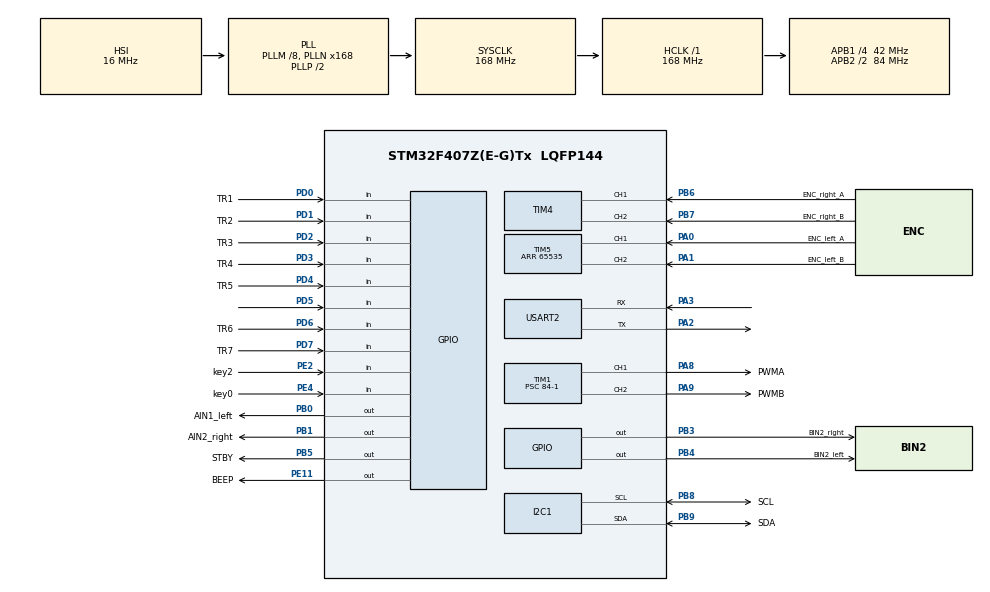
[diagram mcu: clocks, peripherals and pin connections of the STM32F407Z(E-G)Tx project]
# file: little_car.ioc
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Mcu.Family=STM32F4
Mcu.Name=STM32F407Z(E-G)Tx
Mcu.Package=LQFP144
NVIC.PriorityGroup=NVIC_PRIORITYGROUP_4
NVIC.TIM2_IRQn=true\:3\:0\:true\:false\:true\:true\:true\:true
NVIC.USART2_IRQn=true\:0\:0\:false\:false\:true\:true\:true\:true
PA0-WKUP.GPIO_Label=ENC_left_A
PA0-WKUP.Signal=S_TIM5_CH1
PA1.GPIO_Label=ENC_left_B
PA1.Signal=S_TIM5_CH2
PA13.Mode=Serial_Wire
PA13.Signal=SYS_JTMS-SWDIO
PA14.Mode=Serial_Wire
PA14.Signal=SYS_JTCK-SWCLK
PA2.Mode=Asynchronous
PA2.Signal=USART2_TX
PA3.Mode=Asynchronous
PA3.Signal=USART2_RX
PA8.GPIO_Label=PWMA
PA8.Signal=S_TIM1_CH1
PA9.GPIO_Label=PWMB
PA9.Signal=S_TIM1_CH2
PB0.GPIO_Label=AIN1_left
PB0.Signal=GPIO_Output
PB1.GPIO_Label=AIN2_right
PB1.Signal=GPIO_Output
PB3.GPIO_Label=BIN2_right
PB3.Signal=GPIO_Output
PB4.GPIO_Label=BIN2_left
PB4.Signal=GPIO_Output
PB5.GPIO_Label=STBY
PB5.GPIO_PuPd=GPIO_PULLUP
PB5.Signal=GPIO_Output
PB6.GPIO_Label=ENC_right_A
PB6.Signal=S_TIM4_CH1
PB7.GPIO_Label=ENC_right_B
PB7.Signal=S_TIM4_CH2
PB8.GPIO_Label=SCL
PB8.Mode=I2C
PB8.Signal=I2C1_SCL
PB9.GPIO_Label=SDA
PB9.Mode=I2C
PB9.Signal=I2C1_SDA
PC14-OSC32_IN.Mode=LSE-External-Oscillator
PC14-OSC32_IN.Signal=RCC_OSC32_IN
PC15-OSC32_OUT.Mode=LSE-External-Oscillator
PC15-OSC32_OUT.Signal=RCC_OSC32_OUT
PD0.GPIO_Label=TR1
PD0.GPIO_PuPd=GPIO_NOPULL
PD0.Signal=GPIO_Input
PD1.GPIO_Label=TR2
PD1.Signal=GPIO_Input
PD2.GPIO_Label=TR3
PD2.GPIO_PuPd=GPIO_NOPULL
PD2.Signal=GPIO_Input
PD3.GPIO_Label=TR4
PD3.Signal=GPIO_Input
PD4.GPIO_Label=TR5
PD4.GPIO_PuPd=GPIO_NOPULL
PD4.Signal=GPIO_Input
PD5.Signal=GPIO_Input
PD6.GPIO_Label=TR6
PD6.Signal=GPIO_Input
PD7.GPIO_Label=TR7
PD7.Signal=GPIO_Input
PE11.GPIO_Label=BEEP
PE11.GPIO_PuPd=GPIO_PULLUP
PE11.PinState=GPIO_PIN_SET
PE11.Signal=GPIO_Output
PE2.GPIO_Label=key2
PE2.GPIO_PuPd=GPIO_PULLUP
PE2.Signal=GPIO_Input
PE4.GPIO_Label=key0
PE4.GPIO_PuPd=GPIO_PULLDOWN
PE4.Signal=GPIO_Input
PH0-OSC_IN.Mode=HSE-External-Oscillator
PH0-OSC_IN.Signal=RCC_OSC_IN
PH1-OSC_OUT.Mode=HSE-External-Oscillator
PH1-OSC_OUT.Signal=RCC_OSC_OUT
ProjectManager.HeapSize=0x200
ProjectManager.StackSize=0x400
ProjectManager.TargetToolchain=MDK-ARM V5.32
RCC.48MHZClocksFreq_Value=84000000
RCC.AHBFreq_Value=168000000
RCC.APB1CLKDivider=RCC_HCLK_DIV4
RCC.APB1Freq_Value=42000000
RCC.APB1TimFreq_Value=84000000
RCC.APB2CLKDivider=RCC_HCLK_DIV2
RCC.APB2Freq_Value=84000000
RCC.APB2TimFreq_Value=168000000
RCC.CortexFreq_Value=168000000
RCC.HCLKFreq_Value=168000000
RCC.HSE_VALUE=25000000
RCC.HSI_VALUE=16000000
RCC.PLLM=8
RCC.PLLN=168
RCC.SYSCLKFreq_VALUE=168000000
RCC.SYSCLKSource=RCC_SYSCLKSOURCE_PLLCLK
RCC.VCOOutputFreq_Value=336000000
SH.S_TIM1_CH1.0=TIM1_CH1,PWM Generation1 CH1
SH.S_TIM1_CH2.0=TIM1_CH2,PWM Generation2 CH2
SH.S_TIM4_CH1.0=TIM4_CH1,Encoder_Interface
SH.S_TIM4_CH2.0=TIM4_CH2,Encoder_Interface
SH.S_TIM5_CH1.0=TIM5_CH1,Encoder_Interface
SH.S_TIM5_CH2.0=TIM5_CH2,Encoder_Interface
TIM1.AutoReloadPreload=TIM_AUTORELOAD_PRELOAD_ENABLE
TIM1.Channel-PWM\ Generation1\ CH1=TIM_CHANNEL_1
TIM1.Channel-PWM\ Generation2\ CH2=TIM_CHANNEL_2
TIM1.Period=100-1
TIM1.Prescaler=84-1
TIM2.AutoReloadPreload=TIM_AUTORELOAD_PRELOAD_ENABLE
TIM2.Period=99
TIM2.Prescaler=8399
TIM4.EncoderMode=TIM_ENCODERMODE_TI12
TIM5.EncoderMode=TIM_ENCODERMODE_TI12
TIM5.Period=65535
USART2.VirtualMode=VM_ASYNC
VP_TIM2_VS_ClockSourceINT.Mode=Internal
board=custom

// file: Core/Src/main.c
/* USER CODE BEGIN Header */
/**
  ******************************************************************************
  * @file           : main.c
  * @brief          : Main program body
  ******************************************************************************
  * @attention
  *
  * Copyright (c) 2026 STMicroelectronics.
  * All rights reserved.
  *
  * This software is licensed under terms that can be found in the LICENSE file
  * in the root directory of this software component.
  * If no LICENSE file comes with this software, it is provided AS-IS.
  ******************************************************************************
  */
/* USER CODE END Header */
#include "main.h"
#include "i2c.h"
#include "tim.h"
#include "usart.h"
#include "gpio.h"

/* USER CODE BEGIN Includes */
#include "oled.h"
#include "beep.h"
#include "encode1.h"
#include "pid1.h"
#include "motor1.h"
#include "track_sensor.h"

#include <stdio.h>	//使用 printf
#include <string.h>	//使用 memset
/* USER CODE END Includes */

/* USER CODE BEGIN PD */
#define LENGTH  64  		//接收缓冲区大小
/* USER CODE END PD */

/* USER CODE BEGIN PV */
uint8_t RxBuff[LENGTH];		//接收缓冲区
uint8_t rx_flag = 0;
uint16_t rx_len = 0;

float base_speed = 12.0f;   // 循迹基础直行速度，单位和你速度环目标一致
/* USER CODE END PV */

void SystemClock_Config(void);

/* USER CODE BEGIN 0 */

//pid1新的pid函数
PID1_TypeDef pid1_left;
PID1_TypeDef pid1_right;

// 必须加volatile！！！跨中断
volatile float speed_L, speed_R;
volatile float pwmout_left,pwmout_right;
volatile float Target1_left;
volatile float Target1_right;
volatile float turn_speed;

	float pwm_left_out =0;
	float pwm_right_out =0;

uint8_t keynum;

//printf重定向
int fputc(int ch, FILE *f)
{
    uint8_t temp = ch;
    HAL_UART_Transmit(&huart2, &temp, 1, 100);
    return ch;
}

/* USER CODE END 0 */

int main(void)
{

  /* MCU Configuration--------------------------------------------------------*/

  /* Reset of all peripherals, Initializes the Flash interface and the Systick. */
  HAL_Init();

  /* Configure the system clock */
  SystemClock_Config();

  /* Initialize all configured peripherals */
  MX_GPIO_Init();
  MX_TIM1_Init();
  MX_TIM4_Init();
  MX_TIM5_Init();
  MX_I2C1_Init();
  MX_TIM2_Init();
  MX_USART2_UART_Init();
  /* USER CODE BEGIN 2 */

	HAL_TIM_PWM_Start(&htim1, TIM_CHANNEL_1);
  HAL_TIM_PWM_Start(&htim1, TIM_CHANNEL_2);

  HAL_TIM_Base_Start_IT(&htim2);  //开启定时器中断50ms

	HAL_TIM_Encoder_Start(&htim4, TIM_CHANNEL_ALL);
  HAL_TIM_Encoder_Start(&htim5, TIM_CHANNEL_ALL);//开启编码器

	motor1_init();
//	OLED_Init();

	  pid1_Init(&pid1_left, 3.2f, 0.15f, 0.15f);
  pid1_Init(&pid1_right,3.2f, 0.15f, 0.15f);

		Target1_left = base_speed;
Target1_right = base_speed;

	printf("System Start!\r\n");
  /* USER CODE END 2 */

  /* Infinite loop */
  /* USER CODE BEGIN WHILE */
  while (1)
  {
		printf("speed_left:%.2f,speed_right:%.2f\r\n",speed_L,speed_R);
		printf("pwm_left:%.2f,pwm_right:%.2f\r\n",pwm_left_out,pwm_right_out);
		printf("rho:%.2f,turn_speed:%.2f\r\n",rho,turn_speed);
		HAL_Delay(1000);

    /* USER CODE END WHILE */

	}
}

void SystemClock_Config(void)
{
  RCC_OscInitTypeDef RCC_OscInitStruct = {0};
  RCC_ClkInitTypeDef RCC_ClkInitStruct = {0};

  /** Configure the main internal regulator output voltage
  */
  __HAL_RCC_PWR_CLK_ENABLE();
  __HAL_PWR_VOLTAGESCALING_CONFIG(PWR_REGULATOR_VOLTAGE_SCALE1);

  /** Initializes the RCC Oscillators according to the specified parameters
  * in the RCC_OscInitTypeDef structure.
  */
  RCC_OscInitStruct.OscillatorType = RCC_OSCILLATORTYPE_HSI;
  RCC_OscInitStruct.HSIState = RCC_HSI_ON;
  RCC_OscInitStruct.HSICalibrationValue = RCC_HSICALIBRATION_DEFAULT;
  RCC_OscInitStruct.PLL.PLLState = RCC_PLL_ON;
  RCC_OscInitStruct.PLL.PLLSource = RCC_PLLSOURCE_HSI;
  RCC_OscInitStruct.PLL.PLLM = 8;
  RCC_OscInitStruct.PLL.PLLN = 168;
  RCC_OscInitStruct.PLL.PLLP = RCC_PLLP_DIV2;
  RCC_OscInitStruct.PLL.PLLQ = 4;
  if (HAL_RCC_OscConfig(&RCC_OscInitStruct) != HAL_OK)
  {
    Error_Handler();
  }

  /** Initializes the CPU, AHB and APB buses clocks
  */
  RCC_ClkInitStruct.ClockType = RCC_CLOCKTYPE_HCLK|RCC_CLOCKTYPE_SYSCLK
                              |RCC_CLOCKTYPE_PCLK1|RCC_CLOCKTYPE_PCLK2;
  RCC_ClkInitStruct.SYSCLKSource = RCC_SYSCLKSOURCE_PLLCLK;
  RCC_ClkInitStruct.AHBCLKDivider = RCC_SYSCLK_DIV1;
  RCC_ClkInitStruct.APB1CLKDivider = RCC_HCLK_DIV4;
  RCC_ClkInitStruct.APB2CLKDivider = RCC_HCLK_DIV2;

  if (HAL_RCC_ClockConfig(&RCC_ClkInitStruct, FLASH_LATENCY_5) != HAL_OK)
  {
    Error_Handler();
  }
}

/* USER CODE BEGIN 4 */
void HAL_UARTEx_RxEventCallback(UART_HandleTypeDef *huart, uint16_t Size)
{
	if(huart -> Instance == USART2)
	{
		 HAL_UART_Transmit_IT(&huart2 ,RxBuff ,Size);
		 HAL_UARTEx_ReceiveToIdle_IT(&huart2 ,RxBuff ,LENGTH);
	}
}

// 50ms 定时中断 → 计算编码器速度
void HAL_TIM_PeriodElapsedCallback(TIM_HandleTypeDef *htim)
{
     if(htim->Instance == TIM2)
    {
        // ========== 1. 循迹外环：计算转向差速 ==========
        Sensor_UpdateRho();                              // 更新黑线位置rho
        turn_speed = Track_PD_Calc(40.0f, rho);    // PD计算转向差速

        // 叠加差速到左右轮目标速度
        float target_L = base_speed - turn_speed;
        float target_R = base_speed + turn_speed;

        // 目标速度下限保护：避免低速弯道时倒车
        if(target_L < 0.5f) target_L = 0.5f;
        if(target_R < 0.5f) target_R = 0.5f;

        // ========== 2. 速度内环：编码器+PID+电机输出 ==========
        speed_L = (float)encode1_get(&htim5);
        speed_R = (float)encode1_get(&htim4);

        pwmout_left  = PID1_Calc(&pid1_left, speed_L, (int16_t)target_L);
        pwmout_right = PID1_Calc(&pid1_right, speed_R, (int16_t)target_R);

//			if(pwmout_left  < 0.0f) pwmout_left  = 0.0f;
//		if(pwmout_right < 0.0f) pwmout_right = 0.0f;

			 pwm_left_out  = MOTOR_DEAD_ZONE + (pwmout_left  / 100.0f) * (100.0f - MOTOR_DEAD_ZONE);
			pwm_right_out = MOTOR_DEAD_ZONE + (pwmout_right / 100.0f) * (100.0f - MOTOR_DEAD_ZONE);

    setpwm1_left((int16_t)pwm_left_out);
	setpwm1_right((int16_t)pwm_right_out);

}
		}
/* USER CODE END 4 */

void Error_Handler(void)
{
  __disable_irq();
  while (1)
  {
  }
}
